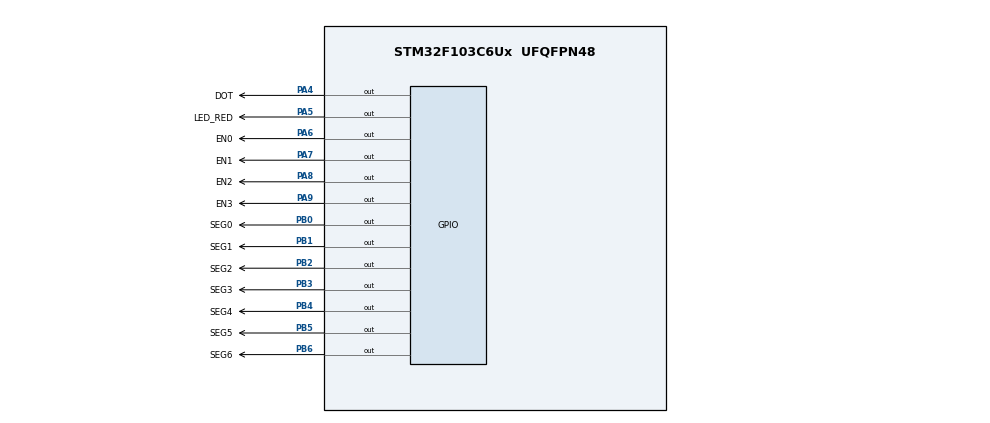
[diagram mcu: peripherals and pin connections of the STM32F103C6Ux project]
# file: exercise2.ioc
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Mcu.Family=STM32F1
Mcu.Name=STM32F103C6Ux
Mcu.Package=UFQFPN48
NVIC.PriorityGroup=NVIC_PRIORITYGROUP_4
NVIC.TIM2_IRQn=true\:0\:0\:false\:false\:true\:true\:true
PA4.GPIO_Label=DOT
PA4.Signal=GPIO_Output
PA5.GPIO_Label=LED_RED
PA5.Signal=GPIO_Output
PA6.GPIO_Label=EN0
PA6.Signal=GPIO_Output
PA7.GPIO_Label=EN1
PA7.Signal=GPIO_Output
PA8.GPIO_Label=EN2
PA8.Signal=GPIO_Output
PA9.GPIO_Label=EN3
PA9.Signal=GPIO_Output
PB0.GPIO_Label=SEG0
PB0.Signal=GPIO_Output
PB1.GPIO_Label=SEG1
PB1.Signal=GPIO_Output
PB2.GPIO_Label=SEG2
PB2.Signal=GPIO_Output
PB3.GPIO_Label=SEG3
PB3.Signal=GPIO_Output
PB4.GPIO_Label=SEG4
PB4.Signal=GPIO_Output
PB5.GPIO_Label=SEG5
PB5.Signal=GPIO_Output
PB6.GPIO_Label=SEG6
PB6.Signal=GPIO_Output
ProjectManager.HeapSize=0x200
ProjectManager.StackSize=0x400
ProjectManager.TargetToolchain=STM32CubeIDE
RCC.APB1Freq_Value=8000000
RCC.APB2Freq_Value=8000000
TIM2.Period=9
TIM2.Prescaler=7999
VP_SYS_VS_ND.Mode=No_Debug
VP_TIM2_VS_ClockSourceINT.Mode=Internal
board=custom

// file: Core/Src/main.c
/* USER CODE BEGIN Header */
/**
  ******************************************************************************
  * @file           : main.c
  * @brief          : Main program body
  ******************************************************************************
  * @attention
  *
  * <h2><center>&copy; Copyright (c) 2022 STMicroelectronics.
  * All rights reserved.</center></h2>
  *
  * This software component is licensed by ST under BSD 3-Clause license,
  * the "License"; You may not use this file except in compliance with the
  * License. You may obtain a copy of the License at:
  *                        opensource.org/licenses/BSD-3-Clause
  *
  ******************************************************************************
  */
/* USER CODE END Header */
#include "main.h"

/* USER CODE BEGIN Includes */
#include "display7SEG.h"
/* USER CODE END Includes */

TIM_HandleTypeDef htim2;

void SystemClock_Config(void);
static void MX_GPIO_Init(void);
static void MX_TIM2_Init(void);

int main(void)
{

  /* MCU Configuration--------------------------------------------------------*/

  /* Reset of all peripherals, Initializes the Flash interface and the Systick. */
  HAL_Init();

  /* Configure the system clock */
  SystemClock_Config();

  /* Initialize all configured peripherals */
  MX_GPIO_Init();
  MX_TIM2_Init();
  /* USER CODE BEGIN 2 */
  HAL_TIM_Base_Start_IT(&htim2);
  /* USER CODE END 2 */

  /* Infinite loop */
  while (1)
  {

  }
}

void SystemClock_Config(void)
{
  RCC_OscInitTypeDef RCC_OscInitStruct = {0};
  RCC_ClkInitTypeDef RCC_ClkInitStruct = {0};

  /** Initializes the RCC Oscillators according to the specified parameters
  * in the RCC_OscInitTypeDef structure.
  */
  RCC_OscInitStruct.OscillatorType = RCC_OSCILLATORTYPE_HSI;
  RCC_OscInitStruct.HSIState = RCC_HSI_ON;
  RCC_OscInitStruct.HSICalibrationValue = RCC_HSICALIBRATION_DEFAULT;
  RCC_OscInitStruct.PLL.PLLState = RCC_PLL_NONE;
  if (HAL_RCC_OscConfig(&RCC_OscInitStruct) != HAL_OK)
  {
    Error_Handler();
  }
  /** Initializes the CPU, AHB and APB buses clocks
  */
  RCC_ClkInitStruct.ClockType = RCC_CLOCKTYPE_HCLK|RCC_CLOCKTYPE_SYSCLK
                              |RCC_CLOCKTYPE_PCLK1|RCC_CLOCKTYPE_PCLK2;
  RCC_ClkInitStruct.SYSCLKSource = RCC_SYSCLKSOURCE_HSI;
  RCC_ClkInitStruct.AHBCLKDivider = RCC_SYSCLK_DIV1;
  RCC_ClkInitStruct.APB1CLKDivider = RCC_HCLK_DIV1;
  RCC_ClkInitStruct.APB2CLKDivider = RCC_HCLK_DIV1;

  if (HAL_RCC_ClockConfig(&RCC_ClkInitStruct, FLASH_LATENCY_0) != HAL_OK)
  {
    Error_Handler();
  }
}

static void MX_TIM2_Init(void)
{

  TIM_ClockConfigTypeDef sClockSourceConfig = {0};
  TIM_MasterConfigTypeDef sMasterConfig = {0};

  htim2.Instance = TIM2;
  htim2.Init.Prescaler = 7999;
  htim2.Init.CounterMode = TIM_COUNTERMODE_UP;
  htim2.Init.Period = 9;
  htim2.Init.ClockDivision = TIM_CLOCKDIVISION_DIV1;
  htim2.Init.AutoReloadPreload = TIM_AUTORELOAD_PRELOAD_DISABLE;
  if (HAL_TIM_Base_Init(&htim2) != HAL_OK)
  {
    Error_Handler();
  }
  sClockSourceConfig.ClockSource = TIM_CLOCKSOURCE_INTERNAL;
  if (HAL_TIM_ConfigClockSource(&htim2, &sClockSourceConfig) != HAL_OK)
  {
    Error_Handler();
  }
  sMasterConfig.MasterOutputTrigger = TIM_TRGO_RESET;
  sMasterConfig.MasterSlaveMode = TIM_MASTERSLAVEMODE_DISABLE;
  if (HAL_TIMEx_MasterConfigSynchronization(&htim2, &sMasterConfig) != HAL_OK)
  {
    Error_Handler();
  }

}

static void MX_GPIO_Init(void)
{
  GPIO_InitTypeDef GPIO_InitStruct = {0};

  /* GPIO Ports Clock Enable */
  __HAL_RCC_GPIOA_CLK_ENABLE();
  __HAL_RCC_GPIOB_CLK_ENABLE();

  /*Configure GPIO pin Output Level */
  HAL_GPIO_WritePin(GPIOA, DOT_Pin|LED_RED_Pin|EN0_Pin|EN1_Pin
                          |EN2_Pin|EN3_Pin, GPIO_PIN_RESET);

  /*Configure GPIO pin Output Level */
  HAL_GPIO_WritePin(GPIOB, SEG0_Pin|SEG1_Pin|SEG2_Pin|SEG3_Pin
                          |SEG4_Pin|SEG5_Pin|SEG6_Pin, GPIO_PIN_RESET);

  /*Configure GPIO pins : DOT_Pin LED_RED_Pin EN0_Pin EN1_Pin
                           EN2_Pin EN3_Pin */
  GPIO_InitStruct.Pin = DOT_Pin|LED_RED_Pin|EN0_Pin|EN1_Pin
                          |EN2_Pin|EN3_Pin;
  GPIO_InitStruct.Mode = GPIO_MODE_OUTPUT_PP;
  GPIO_InitStruct.Pull = GPIO_NOPULL;
  GPIO_InitStruct.Speed = GPIO_SPEED_FREQ_LOW;
  HAL_GPIO_Init(GPIOA, &GPIO_InitStruct);

  /*Configure GPIO pins : SEG0_Pin SEG1_Pin SEG2_Pin SEG3_Pin
                           SEG4_Pin SEG5_Pin SEG6_Pin */
  GPIO_InitStruct.Pin = SEG0_Pin|SEG1_Pin|SEG2_Pin|SEG3_Pin
                          |SEG4_Pin|SEG5_Pin|SEG6_Pin;
  GPIO_InitStruct.Mode = GPIO_MODE_OUTPUT_PP;
  GPIO_InitStruct.Pull = GPIO_NOPULL;
  GPIO_InitStruct.Speed = GPIO_SPEED_FREQ_LOW;
  HAL_GPIO_Init(GPIOB, &GPIO_InitStruct);

}

/* USER CODE BEGIN 4 */
int counter = 50 ;	//bien dem led7seg
int led = 100;		// bien dem dot
int flag = 0 ;		//flag DOT
int status = 0 ; 	// flag switch led7seg
// flag status
// 0 	0	led 0
// 0 	1	led 1
// 1	0	led 2
// 1	1	led 3
void HAL_TIM_PeriodElapsedCallback ( TIM_HandleTypeDef * htim )
{
	counter--;
	led--;
	if(led <= 0){
		led = 100 ;
		HAL_GPIO_TogglePin(DOT_GPIO_Port, DOT_Pin);
		flag = 1 - flag ;
	}
	if(counter <= 0 ){
		counter = 50 ;
		HAL_GPIO_TogglePin(LED_RED_GPIO_Port, LED_RED_Pin);
		status =  1 - status ;
	}
// flag = 0
	if(flag <= 0){
		// status = 0
		if( status <= 0){
			display7SEG(1);
			HAL_GPIO_WritePin(EN0_GPIO_Port, EN0_Pin, RESET) ;
			HAL_GPIO_WritePin(EN1_GPIO_Port, EN1_Pin, SET) ;
			HAL_GPIO_WritePin(EN2_GPIO_Port, EN2_Pin, SET) ;
			HAL_GPIO_WritePin(EN3_GPIO_Port, EN3_Pin, SET) ;
		//status = 1
		}else{
			display7SEG(2);
			HAL_GPIO_WritePin(EN0_GPIO_Port, EN0_Pin, SET) ;
			HAL_GPIO_WritePin(EN1_GPIO_Port, EN1_Pin, RESET) ;
			HAL_GPIO_WritePin(EN2_GPIO_Port, EN2_Pin, SET) ;
			HAL_GPIO_WritePin(EN3_GPIO_Port, EN3_Pin, SET) ;

		}
	//flag = 1
	}else{
		// status = 0
		if( status <= 0){
			display7SEG(3);
			HAL_GPIO_WritePin(EN0_GPIO_Port, EN0_Pin, SET) ;
			HAL_GPIO_WritePin(EN1_GPIO_Port, EN1_Pin, SET) ;
			HAL_GPIO_WritePin(EN2_GPIO_Port, EN2_Pin, RESET) ;
			HAL_GPIO_WritePin(EN3_GPIO_Port, EN3_Pin, SET) ;
		}
		//status  = 1
		else{
			display7SEG(0);
			HAL_GPIO_WritePin(EN0_GPIO_Port, EN0_Pin, SET) ;
			HAL_GPIO_WritePin(EN1_GPIO_Port, EN1_Pin, SET) ;
			HAL_GPIO_WritePin(EN2_GPIO_Port, EN2_Pin, SET) ;
			HAL_GPIO_WritePin(EN3_GPIO_Port, EN3_Pin, RESET) ;

		}
	}
}
/* USER CODE END 4 */

void Error_Handler(void)
{
  __disable_irq();
  while (1)
  {
  }
}

/************************ (C) COPYRIGHT STMicroelectronics *****END OF FILE****/
